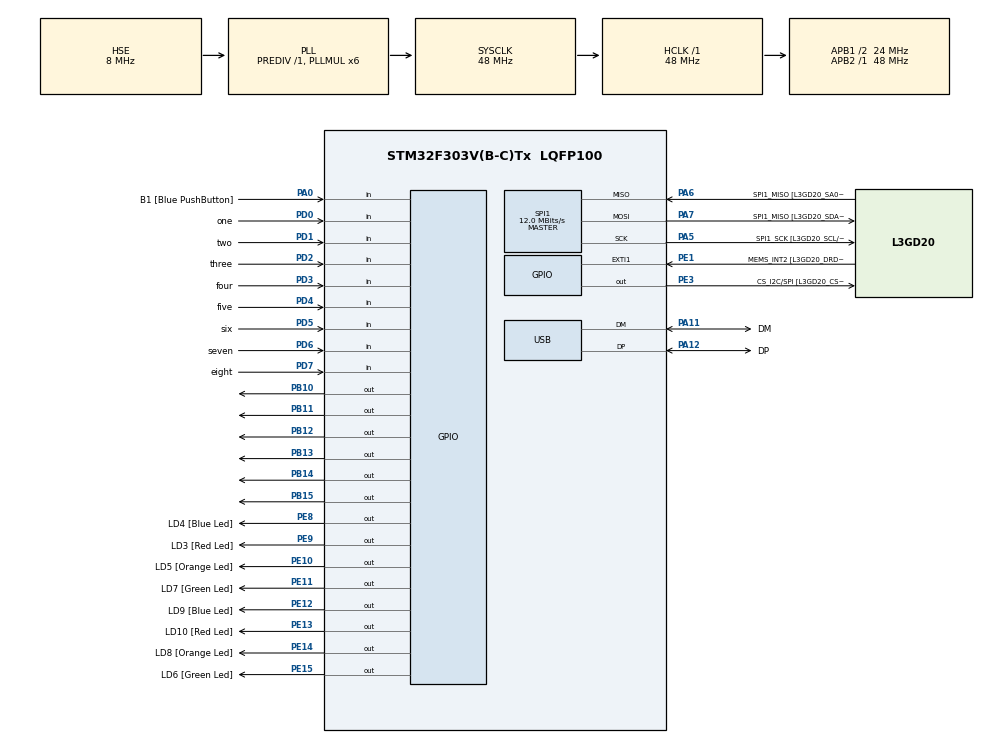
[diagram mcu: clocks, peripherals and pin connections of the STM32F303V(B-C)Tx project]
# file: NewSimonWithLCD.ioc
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Mcu.Family=STM32F3
Mcu.Name=STM32F303V(B-C)Tx
Mcu.Package=LQFP100
NVIC.PriorityGroup=NVIC_PRIORITYGROUP_0
PA0.GPIO_Label=B1 [Blue PushButton]
PA0.Signal=GPIO_Input
PA11.GPIO_Label=DM
PA11.Mode=Device
PA11.Signal=USB_DM
PA12.GPIO_Label=DP
PA12.Mode=Device
PA12.Signal=USB_DP
PA13.GPIO_Label=SWDIO
PA13.Mode=Serial_Wire
PA13.Signal=SYS_JTMS-SWDIO
PA14.GPIO_Label=SWCLK
PA14.Mode=Serial_Wire
PA14.Signal=SYS_JTCK-SWCLK
PA5.GPIO_Label=SPI1_SCK [L3GD20_SCL/SPC]
PA5.Mode=Full_Duplex_Master
PA5.Signal=SPI1_SCK
PA6.GPIO_Label=SPI1_MISO [L3GD20_SA0/SDO]
PA6.Mode=Full_Duplex_Master
PA6.Signal=SPI1_MISO
PA7.GPIO_Label=SPI1_MISO [L3GD20_SDA/SDI/SDO]
PA7.Mode=Full_Duplex_Master
PA7.Signal=SPI1_MOSI
PB10.Signal=GPIO_Output
PB11.Signal=GPIO_Output
PB12.Signal=GPIO_Output
PB13.Signal=GPIO_Output
PB14.Signal=GPIO_Output
PB15.Signal=GPIO_Output
PC14-OSC32_IN.GPIO_Label=OSC32_IN
PC14-OSC32_IN.Signal=RCC_OSC32_IN
PC15-OSC32_OUT.GPIO_Label=OSC32_OUT
PC15-OSC32_OUT.Signal=RCC_OSC32_OUT
PD0.GPIO_Label=one
PD0.Signal=GPIO_Input
PD1.GPIO_Label=two
PD1.Signal=GPIO_Input
PD2.GPIO_Label=three
PD2.Signal=GPIO_Input
PD3.GPIO_Label=four
PD3.Signal=GPIO_Input
PD4.GPIO_Label=five
PD4.Signal=GPIO_Input
PD5.GPIO_Label=six
PD5.Signal=GPIO_Input
PD6.GPIO_Label=seven
PD6.Signal=GPIO_Input
PD7.GPIO_Label=eight
PD7.GPIO_PuPd=GPIO_NOPULL
PD7.Signal=GPIO_Input
PE1.GPIO_Label=MEMS_INT2 [L3GD20_DRDY/INT2]
PE1.GPIO_ModeDefaultEXTI=GPIO_MODE_EVT_RISING
PE1.Signal=GPXTI1
PE10.GPIO_Label=LD5 [Orange Led]
PE10.Signal=GPIO_Output
PE11.GPIO_Label=LD7 [Green Led]
PE11.Signal=GPIO_Output
PE12.GPIO_Label=LD9 [Blue Led]
PE12.Signal=GPIO_Output
PE13.GPIO_Label=LD10 [Red Led]
PE13.Signal=GPIO_Output
PE14.GPIO_Label=LD8 [Orange Led]
PE14.Signal=GPIO_Output
PE15.GPIO_Label=LD6 [Green Led]
PE15.Signal=GPIO_Output
PE3.GPIO_Label=CS_I2C/SPI [L3GD20_CS_I2C/SPI]
PE3.Signal=GPIO_Output
PE8.GPIO_Label=LD4 [Blue Led]
PE8.Signal=GPIO_Output
PE9.GPIO_Label=LD3 [Red Led]
PE9.Signal=GPIO_Output
PF0-OSC_IN.GPIO_Label=OSC_IN
PF0-OSC_IN.Mode=HSE-External-Oscillator
PF0-OSC_IN.Signal=RCC_OSC_IN
PF1-OSC_OUT.GPIO_Label=OSC_OUT
PF1-OSC_OUT.Mode=HSE-External-Oscillator
PF1-OSC_OUT.Signal=RCC_OSC_OUT
ProjectManager.HeapSize=0x200
ProjectManager.StackSize=0x400
ProjectManager.TargetToolchain=STM32CubeIDE
RCC.AHBFreq_Value=48000000
RCC.APB1CLKDivider=RCC_HCLK_DIV2
RCC.APB1Freq_Value=24000000
RCC.APB1TimFreq_Value=48000000
RCC.APB2Freq_Value=48000000
RCC.APB2TimFreq_Value=48000000
RCC.CortexFreq_Value=48000000
RCC.HCLKFreq_Value=48000000
RCC.HSE_VALUE=8000000
RCC.HSI_VALUE=8000000
RCC.LSE_VALUE=32768
RCC.PLLMUL=RCC_PLL_MUL6
RCC.SYSCLKFreq_VALUE=48000000
RCC.SYSCLKSourceVirtual=RCC_SYSCLKSOURCE_PLLCLK
RCC.USBFreq_Value=48000000
SPI1.BaudRatePrescaler=SPI_BAUDRATEPRESCALER_4
SPI1.BaudRatePrescaler-Full_Duplex_Master=SPI_BAUDRATEPRESCALER_2
SPI1.CalculateBaudRate=12.0 MBits/s
SPI1.CalculateBaudRate-Full_Duplex_Master=24.0 MBits/s
SPI1.Direction=SPI_DIRECTION_2LINES
SPI1.Mode=SPI_MODE_MASTER
SPI1.Mode-Full_Duplex_Master=SPI_MODE_MASTER
SPI1.VirtualType=VM_MASTER
TIM2.Prescaler=47
VP_TIM2_VS_ClockSourceINT.Mode=Internal
board=STM32F3DISCOVERY

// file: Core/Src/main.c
/* USER CODE BEGIN Header */
/**
  ******************************************************************************
  * @file           : main.c
  * @brief          : Main program body
  ******************************************************************************
  * @attention
  *
  * Copyright (c) 2023 STMicroelectronics.
  * All rights reserved.
  *
  * This software is licensed under terms that can be found in the LICENSE file
  * in the root directory of this software component.
  * If no LICENSE file comes with this software, it is provided AS-IS.
  *
  ******************************************************************************
  */
/* USER CODE END Header */
#include "main.h"

/* USER CODE BEGIN Includes */
#include <stdio.h>
#include <time.h>
#include <stdint.h>
#include <user_functions2.h>
#include "lcd.h"
/* USER CODE END Includes */

SPI_HandleTypeDef hspi1;

TIM_HandleTypeDef htim2;

PCD_HandleTypeDef hpcd_USB_FS;

/* USER CODE BEGIN PV */
uint8_t *led_register = ((uint8_t*)&(GPIOE->ODR)) + 1;

uint8_t Wnum = 0b00000000;
/* USER CODE END PV */

void SystemClock_Config(void);
static void MX_GPIO_Init(void);
static void MX_SPI1_Init(void);
static void MX_USB_PCD_Init(void);
static void MX_TIM2_Init(void);
/* USER CODE BEGIN PFP */
void initialise_board();
/* USER CODE END PFP */

int main(void)
{

	/* MCU Configuration--------------------------------------------------------*/

	/* Reset of all peripherals, Initializes the Flash interface and the Systick. */
	HAL_Init();

	/* Configure the system clock */
	SystemClock_Config();

	/* Initialize all configured peripherals */
	MX_GPIO_Init();
	MX_SPI1_Init();
	MX_USB_PCD_Init();
	MX_TIM2_Init();
	/* USER CODE BEGIN 2 */
	RCC->AHBENR |= RCC_AHBENR_GPIOEEN | RCC_AHBENR_GPIODEN;
	initialise_board();
	// Lcd_PortType ports[] = { D4_GPIO_Port, D5_GPIO_Port, D6_GPIO_Port, D7_GPIO_Port };
	Lcd_PortType ports[] = { GPIOB, GPIOB, GPIOB, GPIOB };
	// Lcd_PinType pins[] = {D4_Pin, D5_Pin, D6_Pin, D7_Pin};
	Lcd_PinType pins[] = {GPIO_PIN_10, GPIO_PIN_11, GPIO_PIN_12, GPIO_PIN_13};
	Lcd_HandleTypeDef lcd;
	// Lcd_create(ports, pins, RS_GPIO_Port, RS_Pin, EN_GPIO_Port, EN_Pin, LCD_4_BIT_MODE);
	lcd = Lcd_create(ports, pins, GPIOB, GPIO_PIN_15, GPIOB, GPIO_PIN_14, LCD_4_BIT_MODE);

	Lcd_cursor(&lcd, 0,1);
	Lcd_string(&lcd, "Simon Says");
	Lcd_cursor(&lcd, 1,1);
	Lcd_string(&lcd, "Starting");
	HAL_Delay(1000);

	int x;
	/* USER CODE END 2 */

	/* Infinite loop */
	/* USER CODE BEGIN WHILE */
	Lcd_cursor(&lcd, 1,1);
	Lcd_string(&lcd, "Calibrating");

	while (*led_register != 0b11111111)
	{
		*led_register |= GPIOD->IDR;
		HAL_Delay(20);
	}

	while (1)
	{
		/* USER CODE END WHILE */

		/* USER CODE BEGIN 3 */
		//***************************************************************************************************************************
		Lcd_clear(&lcd);
		Lcd_cursor(&lcd, 0,1);
		Lcd_string(&lcd, "Simon Says LVL1");
		Lcd_cursor(&lcd, 1,1);
		Lcd_string(&lcd, "Press B1 2 Begin");
		*led_register = 0b00010001;	//indicates that your on the first level
		while (HAL_GPIO_ReadPin(B1_GPIO_Port, B1_Pin) != 1){}	//indicates that your ready to start the level
		x = level1();

		if (x == 1){}
		else
		{
		while (HAL_GPIO_ReadPin(B1_GPIO_Port, B1_Pin) != 1)	//you've failed, press the Blue button to restart the game when you're ready
		{
		*led_register = 0b00110011;		//fail routine
		HAL_Delay(800);
		*led_register = 0b01010101;
		HAL_Delay(800);
		}
		continue;		//skips the rest of the while loop and restarts at level 1
		}
		//**************************************************************************************************************************

		//*********************************************************************************************************************
		Lcd_clear(&lcd);
		Lcd_cursor(&lcd, 0,1);
		Lcd_string(&lcd, "Simon Says LVL2");
		Lcd_cursor(&lcd, 1,1);
		Lcd_string(&lcd, "Press B1 2 Begin");
		*led_register = 0b00110011;	//indicates that your on the second level
		while (HAL_GPIO_ReadPin(B1_GPIO_Port, B1_Pin) != 1){}
		Lcd_cursor(&lcd, 1,1);
		Lcd_string(&lcd, "Match pattern    ");

		x = level2();

		if (x == 1){}
		else
		{
			while (HAL_GPIO_ReadPin(B1_GPIO_Port, B1_Pin) != 1)	//press the Blue button to restart the game
			{
				*led_register = 0b00110011;		//fail routine
				HAL_Delay(800);
				*led_register = 0b01010101;
				HAL_Delay(800);
			}
			continue;		//skips the rest of the while loop and restarts at level 1
		}
		//**********************************************************************************************************

		//*******************************************************************************************************
		Lcd_clear(&lcd);
		Lcd_cursor(&lcd, 0,1);
		Lcd_string(&lcd, "Simon Says LVL3");
		Lcd_cursor(&lcd, 1,1);
		Lcd_string(&lcd, "Press B1 2 Begin");
		*led_register = 0b01110111;	//indicates that your on the third level
		while (HAL_GPIO_ReadPin(B1_GPIO_Port, B1_Pin) != 1){}
		x = level3();

		if (x == 1){}
		else
		{
			while (HAL_GPIO_ReadPin(B1_GPIO_Port, B1_Pin) != 1)	//press the Blue button to restart the game
			{
				*led_register = 0b00110011;		//fail routine
				HAL_Delay(800);
				*led_register = 0b01010101;
				HAL_Delay(800);
			}
			continue;		//skips the rest of the while loop and restarts at level 1
		}
		//**************************************************************************************************

		//****************************************************************************************************
		Lcd_clear(&lcd);
		Lcd_cursor(&lcd, 0,1);
		Lcd_string(&lcd, "Simon Says LVL4");
		Lcd_cursor(&lcd, 1,1);
		Lcd_string(&lcd, "Press B1 2 Begin");
		*led_register = 0b11111111;	//indicates that your on the last level
		x = level4();
		while (HAL_GPIO_ReadPin(B1_GPIO_Port, B1_Pin) != 1){}

		if (x == 1){}
		else
		{
			while (HAL_GPIO_ReadPin(B1_GPIO_Port, B1_Pin) != 1)	//press the Blue button to restart the game
			{
				*led_register = 0b00110011;		//fail routine
				HAL_Delay(800);
				*led_register = 0b01010101;
				HAL_Delay(800);
			}
			continue;		//skips the rest of the while loop and restarts at level 1
		}
		//*********************************************************************************************

		//*****************************************************************************************
		Lcd_clear(&lcd);
		Lcd_cursor(&lcd, 0,0);
		Lcd_string(&lcd, "Puzzle Completed");
		Lcd_cursor(&lcd, 1,1);
		Lcd_string(&lcd, "Congratulations");

		for (int i = 0; i < 8; i++)		// flashing indicates that the puzzle is complete
		{
			*led_register = 0b11111111;		//success routine
			HAL_Delay(600);
			*led_register = 0b00000000;
			HAL_Delay(600);
		}
		//********************************************************************************************

		break;		//If you complete all levels without failing then the break will stop the while loop
	}
	/* USER CODE END 3 */
}

void SystemClock_Config(void)
{
  RCC_OscInitTypeDef RCC_OscInitStruct = {0};
  RCC_ClkInitTypeDef RCC_ClkInitStruct = {0};
  RCC_PeriphCLKInitTypeDef PeriphClkInit = {0};

  /** Initializes the RCC Oscillators according to the specified parameters
  * in the RCC_OscInitTypeDef structure.
  */
  RCC_OscInitStruct.OscillatorType = RCC_OSCILLATORTYPE_HSE;
  RCC_OscInitStruct.HSEState = RCC_HSE_ON;
  RCC_OscInitStruct.HSEPredivValue = RCC_HSE_PREDIV_DIV1;
  RCC_OscInitStruct.HSIState = RCC_HSI_ON;
  RCC_OscInitStruct.PLL.PLLState = RCC_PLL_ON;
  RCC_OscInitStruct.PLL.PLLSource = RCC_PLLSOURCE_HSE;
  RCC_OscInitStruct.PLL.PLLMUL = RCC_PLL_MUL6;
  if (HAL_RCC_OscConfig(&RCC_OscInitStruct) != HAL_OK)
  {
    Error_Handler();
  }

  /** Initializes the CPU, AHB and APB buses clocks
  */
  RCC_ClkInitStruct.ClockType = RCC_CLOCKTYPE_HCLK|RCC_CLOCKTYPE_SYSCLK
                              |RCC_CLOCKTYPE_PCLK1|RCC_CLOCKTYPE_PCLK2;
  RCC_ClkInitStruct.SYSCLKSource = RCC_SYSCLKSOURCE_PLLCLK;
  RCC_ClkInitStruct.AHBCLKDivider = RCC_SYSCLK_DIV1;
  RCC_ClkInitStruct.APB1CLKDivider = RCC_HCLK_DIV2;
  RCC_ClkInitStruct.APB2CLKDivider = RCC_HCLK_DIV1;

  if (HAL_RCC_ClockConfig(&RCC_ClkInitStruct, FLASH_LATENCY_1) != HAL_OK)
  {
    Error_Handler();
  }
  PeriphClkInit.PeriphClockSelection = RCC_PERIPHCLK_USB;
  PeriphClkInit.USBClockSelection = RCC_USBCLKSOURCE_PLL;
  if (HAL_RCCEx_PeriphCLKConfig(&PeriphClkInit) != HAL_OK)
  {
    Error_Handler();
  }
}

static void MX_SPI1_Init(void)
{

  /* SPI1 parameter configuration*/
  hspi1.Instance = SPI1;
  hspi1.Init.Mode = SPI_MODE_MASTER;
  hspi1.Init.Direction = SPI_DIRECTION_2LINES;
  hspi1.Init.DataSize = SPI_DATASIZE_4BIT;
  hspi1.Init.CLKPolarity = SPI_POLARITY_LOW;
  hspi1.Init.CLKPhase = SPI_PHASE_1EDGE;
  hspi1.Init.NSS = SPI_NSS_SOFT;
  hspi1.Init.BaudRatePrescaler = SPI_BAUDRATEPRESCALER_4;
  hspi1.Init.FirstBit = SPI_FIRSTBIT_MSB;
  hspi1.Init.TIMode = SPI_TIMODE_DISABLE;
  hspi1.Init.CRCCalculation = SPI_CRCCALCULATION_DISABLE;
  hspi1.Init.CRCPolynomial = 7;
  hspi1.Init.CRCLength = SPI_CRC_LENGTH_DATASIZE;
  hspi1.Init.NSSPMode = SPI_NSS_PULSE_ENABLE;
  if (HAL_SPI_Init(&hspi1) != HAL_OK)
  {
    Error_Handler();
  }

}

static void MX_TIM2_Init(void)
{

  TIM_ClockConfigTypeDef sClockSourceConfig = {0};
  TIM_MasterConfigTypeDef sMasterConfig = {0};

  htim2.Instance = TIM2;
  htim2.Init.Prescaler = 47;
  htim2.Init.CounterMode = TIM_COUNTERMODE_UP;
  htim2.Init.Period = 4294967295;
  htim2.Init.ClockDivision = TIM_CLOCKDIVISION_DIV1;
  htim2.Init.AutoReloadPreload = TIM_AUTORELOAD_PRELOAD_DISABLE;
  if (HAL_TIM_Base_Init(&htim2) != HAL_OK)
  {
    Error_Handler();
  }
  sClockSourceConfig.ClockSource = TIM_CLOCKSOURCE_INTERNAL;
  if (HAL_TIM_ConfigClockSource(&htim2, &sClockSourceConfig) != HAL_OK)
  {
    Error_Handler();
  }
  sMasterConfig.MasterOutputTrigger = TIM_TRGO_RESET;
  sMasterConfig.MasterSlaveMode = TIM_MASTERSLAVEMODE_DISABLE;
  if (HAL_TIMEx_MasterConfigSynchronization(&htim2, &sMasterConfig) != HAL_OK)
  {
    Error_Handler();
  }

}

static void MX_USB_PCD_Init(void)
{

  hpcd_USB_FS.Instance = USB;
  hpcd_USB_FS.Init.dev_endpoints = 8;
  hpcd_USB_FS.Init.speed = PCD_SPEED_FULL;
  hpcd_USB_FS.Init.phy_itface = PCD_PHY_EMBEDDED;
  hpcd_USB_FS.Init.low_power_enable = DISABLE;
  hpcd_USB_FS.Init.battery_charging_enable = DISABLE;
  if (HAL_PCD_Init(&hpcd_USB_FS) != HAL_OK)
  {
    Error_Handler();
  }

}

static void MX_GPIO_Init(void)
{
  GPIO_InitTypeDef GPIO_InitStruct = {0};

  /* GPIO Ports Clock Enable */
  __HAL_RCC_GPIOE_CLK_ENABLE();
  __HAL_RCC_GPIOC_CLK_ENABLE();
  __HAL_RCC_GPIOF_CLK_ENABLE();
  __HAL_RCC_GPIOA_CLK_ENABLE();
  __HAL_RCC_GPIOB_CLK_ENABLE();
  __HAL_RCC_GPIOD_CLK_ENABLE();

  /*Configure GPIO pin Output Level */
  HAL_GPIO_WritePin(GPIOE, CS_I2C_SPI_Pin|LD4_Pin|LD3_Pin|LD5_Pin
                          |LD7_Pin|LD9_Pin|LD10_Pin|LD8_Pin
                          |LD6_Pin, GPIO_PIN_RESET);

  /*Configure GPIO pin Output Level */
  HAL_GPIO_WritePin(GPIOB, GPIO_PIN_10|GPIO_PIN_11|GPIO_PIN_12|GPIO_PIN_13
                          |GPIO_PIN_14|GPIO_PIN_15, GPIO_PIN_RESET);

  /*Configure GPIO pins : CS_I2C_SPI_Pin LD4_Pin LD3_Pin LD5_Pin
                           LD7_Pin LD9_Pin LD10_Pin LD8_Pin
                           LD6_Pin */
  GPIO_InitStruct.Pin = CS_I2C_SPI_Pin|LD4_Pin|LD3_Pin|LD5_Pin
                          |LD7_Pin|LD9_Pin|LD10_Pin|LD8_Pin
                          |LD6_Pin;
  GPIO_InitStruct.Mode = GPIO_MODE_OUTPUT_PP;
  GPIO_InitStruct.Pull = GPIO_NOPULL;
  GPIO_InitStruct.Speed = GPIO_SPEED_FREQ_LOW;
  HAL_GPIO_Init(GPIOE, &GPIO_InitStruct);

  /*Configure GPIO pin : B1_Pin */
  GPIO_InitStruct.Pin = B1_Pin;
  GPIO_InitStruct.Mode = GPIO_MODE_INPUT;
  GPIO_InitStruct.Pull = GPIO_NOPULL;
  HAL_GPIO_Init(B1_GPIO_Port, &GPIO_InitStruct);

  /*Configure GPIO pins : PB10 PB11 PB12 PB13
                           PB14 PB15 */
  GPIO_InitStruct.Pin = GPIO_PIN_10|GPIO_PIN_11|GPIO_PIN_12|GPIO_PIN_13
                          |GPIO_PIN_14|GPIO_PIN_15;
  GPIO_InitStruct.Mode = GPIO_MODE_OUTPUT_PP;
  GPIO_InitStruct.Pull = GPIO_NOPULL;
  GPIO_InitStruct.Speed = GPIO_SPEED_FREQ_LOW;
  HAL_GPIO_Init(GPIOB, &GPIO_InitStruct);

  /*Configure GPIO pins : one_Pin two_Pin three_Pin four_Pin
                           five_Pin six_Pin seven_Pin eight_Pin */
  GPIO_InitStruct.Pin = one_Pin|two_Pin|three_Pin|four_Pin
                          |five_Pin|six_Pin|seven_Pin|eight_Pin;
  GPIO_InitStruct.Mode = GPIO_MODE_INPUT;
  GPIO_InitStruct.Pull = GPIO_NOPULL;
  HAL_GPIO_Init(GPIOD, &GPIO_InitStruct);

  /*Configure GPIO pin : MEMS_INT2_Pin */
  GPIO_InitStruct.Pin = MEMS_INT2_Pin;
  GPIO_InitStruct.Mode = GPIO_MODE_EVT_RISING;
  GPIO_InitStruct.Pull = GPIO_NOPULL;
  HAL_GPIO_Init(MEMS_INT2_GPIO_Port, &GPIO_InitStruct);

}

/* USER CODE BEGIN 4 */
void initialise_board() {
	// get a pointer to the second half word of the MODER register (for outputs pe8-15)
	uint16_t *led_output_registers = ((uint16_t *)&(GPIOE->MODER)) + 1;
	*led_output_registers = 0x5555;
}

/* USER CODE END 4 */

void Error_Handler(void)
{
  __disable_irq();
  while (1)
  {
  }
}
